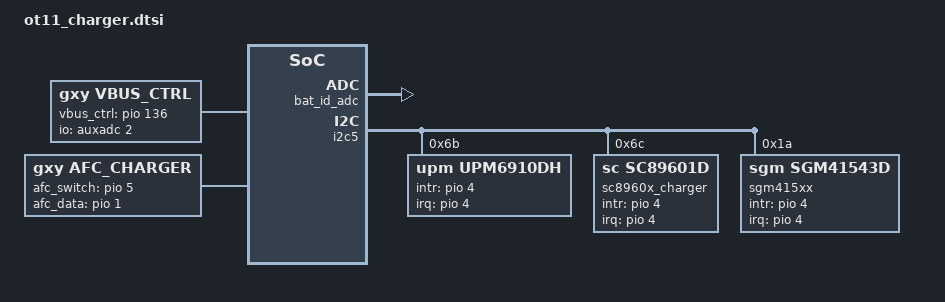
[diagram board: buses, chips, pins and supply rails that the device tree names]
#include <dt-bindings/iio/mt635x-auxadc.h>

/*Tab A9 code for SR-AX6739A-01-490 by qiaodan at 20230504 start*/
&odm {
    gxy_psy: gxy_psy {
        compatible = "gxy, gxy_psy";
        status = "okay";
    };
    /*Tab A9 code for SR-AX6739A-01-515 by lina at 20230505 start*/
    bat_id_adc: bat_id_adc {
        compatible = "gxy, bat_id_adc";
        io-channels = <&auxadc 4>;
        io-channel-names = "gxy-battid";
    };
    /*Tab A9 code for SR-AX6739A-01-515 by lina at 20230505 end*/
    /* Tab A9 code for SR-AX6739A-01-461 by qiaodan at 20230607 start */
    vbus_ctrl: vbus_ctrl {
        compatible = "gxy, vbus_ctrl";
        vbus_ctrl_gpio_num = <136>;
        vbus_ctrl_gpio = <&pio 136 0x0>;
        io-channels = <&auxadc 2>;
        io-channel-names = "gxy-usb-therm";
    };
    /* Tab A9 code for SR-AX6739A-01-461 by qiaodan at 20230607 end */
    /*Tab A9 code for SR-AX6739A-01-499 by wenyaqi at 20230515 start*/
    /* AFC  Fast charging */
    afc_charger: afc_charger {
        compatible = "gxy,afc_charger";
        gauge = <&mtk_gauge>;
        status = "okay";

        afc_switch_gpio_num = <5>;
        afc_switch_gpio = <&pio 5 0x0>;
        afc_data_gpio_num = <1>;
        afc_data_gpio = <&pio 1 0x0>;

        afc_start_battery_soc = <0>;
        afc_stop_battery_soc = <100>;
        afc_pre_input_current = <500000>;
        afc_charger_input_current = <1700000>;
        afc_charger_current = <2700000>;
        afc_min_charger_voltage = <4600000>;
        vbat_threshold = <4400>;
    };
    /*Tab A9 code for SR-AX6739A-01-499 by wenyaqi at 20230515 end*/

    /* Tab A9 code for SR-AX6739A-01-452 by gaozhengwei at 20230612 start */
    gxy_alarm: gxy_alarm {
        compatible = "gxy, gxy_alarm";
        status = "okay";
    };
    /* Tab A9 code for SR-AX6739A-01-452 by gaozhengwei at 20230612 end */
};
/*Tab A9 code for SR-AX6739A-01-490 by qiaodan at 20230504 end*/

/*Tab A9 code for SR-AX6739A-01-493 by lina at 20230518 start*/
&lk_charger {
    /* charging current */
    ac_charger_current = <2000000>;
    ac_charger_input_current = <1550000>;
};
/*Tab A9 code for SR-AX6739A-01-493 by lina at 20230518 end*/

&charger {
    /*Tab A9 code for AX6739A-12 by wenyaqi at 20230421 start*/
    /* for get pmic mt6366 vbus */
    io-channels = <&pmic_auxadc AUXADC_VCDT>;
    io-channel-names = "pmic_vbus";
    /*Tab A9 code for AX6739A-12 by wenyaqi at 20230421 end*/
    /*Tab A9 code for SR-AX6739A-01-494 by qiaodan at 20230502 start*/
    /* common */
    battery_cv = <4400000>;
    /*Tab A9 code for SR-AX6739A-01-514 by qiaodan at 20230601 start*/
    max_charger_voltage = <6400000>;
    max_fast_charger_voltage = <10400000>;
    /*Tab A9 code for SR-AX6739A-01-514 by qiaodan at 20230601 end*/
    min_charger_voltage = <4600000>;
    /*Tab A9 code for SR-AX6739A-01-504 by qiaodan at 20230506 start*/
    /* sw jeita */
    /* enable_vbat_mon = <1>; */
    enable_sw_jeita;
    jeita_temp_above_t4_cv = <4100000>;
    jeita_temp_t3_to_t4_cv = <4100000>;
    jeita_temp_t2_to_t3_cv = <4400000>;
    jeita_temp_t1_to_t2_cv = <4400000>;
    jeita_temp_t0_to_t1_cv = <4400000>;
    jeita_temp_below_t0_cv = <4400000>;
    /*jeita-current*/
    jeita_temp_above_t4_cur = <0>;
    jeita_temp_t3_to_t4_cur = <1750000>;
    jeita_temp_t2_to_t3_cur = <2700000>;
    jeita_temp_t1_to_t2_cur = <1500000>;
    jeita_temp_t0_to_t1_cur = <500000>;
    /*jeita-temp threadshold*/
    temp_t4_thres = <50>;
    temp_t4_thres_minus_x_degree = <48>;
    temp_t3_thres = <45>;
    temp_t3_thres_minus_x_degree = <43>;
    temp_t2_thres = <20>;
    temp_t2_thres_plus_x_degree = <22>;
    temp_t1_thres = <10>;
    temp_t1_thres_plus_x_degree = <12>;
    temp_t0_thres = <0>;
    temp_t0_thres_plus_x_degree = <2>;
    temp_neg_10_thres = <0>;
    /* battery temperature protection */
    enable_min_charge_temp;
    min_charge_temp = <0>;
    min_charge_temp_plus_x_degree = <6>;
    max_charge_temp = <50>;
    max_charge_temp_minus_x_degree = <47>;
    /*Tab A9 code for SR-AX6739A-01-504 by qiaodan at 20230506 end*/

    /*Tab A9 code for SR-AX6739A-01-503 by qiaodan at 20230510 start*/
    disable_aicl;
    /* charging current */
    usb_charger_current = <500000>;
    ac_charger_current = <2000000>;
    ac_charger_input_current = <1550000>;
    charging_host_charger_current = <1500000>;

    /* dynamic mivr */
    enable_dynamic_mivr;
    min_charger_voltage_1 = <4500000>;
    min_charger_voltage_2 = <4300000>;
    max_dmivr_charger_current = <1800000>;
    /*Tab A9 code for SR-AX6739A-01-503 by qiaodan at 20230510 end*/

    /* fast charging algo support indicator */
    enable_fast_charging_indicator;
    /*Tab A9 code for SR-AX6739A-01-494by qiaodan at 20230502 end*/

    /*Tab A9 code for SR-AX6739A-01-522 by gaozhengwei at 20230607 start*/
    /* Battery Life */
    gxy-batt-aging-enable;
    gxy,cv-ranges = <0 299 4400000
                    300 399 4380000
                    400 699 4360000
                    700 999 4340000
                    1000 9999 4290000>;
    /*Tab A9 code for SR-AX6739A-01-522 by gaozhengwei at 20230607 end*/
};

/*Tab A9 code for SR-AX6739A-01-503 by qiaodan at 20230510 start*/
&pdc {
    pd_vbus_upper_bound = <10000000>;
    pd_stop_battery_soc = <100>;
    /* single charger */
    sc_input_current = <1700000>;
    sc_charger_current = <2700000>;
    /* dual charger */
    vbat_threshold = <4400>;
};
/*Tab A9 code for SR-AX6739A-01-503 by qiaodan at 20230510 end*/

/*Tab A9 code for SR-AX6739A-01-494 by qiaodan at 20230502 start*/
&i2c5 {
    upm6910dh: upm6910dh@6B {
        compatible = "upm,upm6910dh";
        reg = <0x6B>;
        status = "okay";

        interrupt-parent = <&pio>;
        interrupts = <4 IRQ_TYPE_EDGE_FALLING>;
        charger_name = "primary_chg";
        upm,intr_gpio = <&pio 4 0x0>; /* GPIO */
        upm,intr_gpio_num = <4>;
    };

    /*Tab A9 code for SR-AX6739A-01-493 by wenyaqi at 20230502 start*/
     sc8960x_charger: sc8960x@6C {
        compatible = "sc,sc89601d";
        reg = <0x6C>;
        status = "okay";

        interrupt-parent = <&pio>;
        interrupts = <4 IRQ_TYPE_EDGE_FALLING>;
        sc8960x,charger_name = "primary_chg";
        sc8960x,intr_gpio = <&pio 4 0x0>;
        sc8960x,intr_gpio_num = <4>;

        sc8960x,pfm-dis = <0>; /*0: enable, 1: disable*/
        sc8960x,vsys-min = <5>; /*0: 2.6V, 1: 2.8V, 2: 3.0V,
                    3: 3.2V, 4: 3.4V, 5: 3.5V, 6:3.6V, 7: 3.7V*/
        sc8960x,vbat-low-otg = <0>; /*0: 2.8V, 1: 2.5V*/
        sc8960x,ipre-chg = <2>; /*60 + val * 60, unit:mA*/
        sc8960x,itermination = <2>; /*60 + val * 60, unit:mA*/
        /*Tab A9 code for AX6739A-2529 by wenyaqi at 20230727 start*/
        sc8960x,vbat-volt = <69>; /*3848 + val * 8, unit:mV*/
        /*Tab A9 code for AX6739A-2529 by wenyaqi at 20230727 end*/
        sc8960x,top-off-timer = <0>; /*0: dis, 1: 15min, 2: 20min 3: 45min*/
        sc8960x,vrechg-volt = <0>; /*0: 100mV, 1: 200mV*/
        sc8960x,en-termination = <1>; /*0: disable, 1: enable*/
        sc8960x,wdt-timer = <0>; /*0: disable, 1: 40s, 2: 80s, 3：160s*/
        sc8960x,en-chg-saft-timer = <1>; /*0: disable, 1: enable*/
        sc8960x,charge-timer = <1>; /*0: 5hrs, 1: 10hrs*/
        sc8960x,vac-ovp = <3>; /*0: 5.8V, 1: 6.4V, 2: 11V, 3: 14.2V*/
        sc8960x,iboost = <1>; /*0: 0.5A, 1: 1.2A*/
        sc8960x,vboost = <12>; /*3900 + val * 100, unit:mV*/
        sc8960x,vindpm-track = <0>; /*0: disable, 1:200mV, 2:250mV, 3:300mV*/
        sc8960x,vindpm-int-mask = <1>; /*0: not mask, 1: mask*/
        sc8960x,iindpm-int-mask = <1>; /*0: not mask, 1: mask*/
        sc8960x,vpre-to-cc = <0>; /*0: 3V, 1: 2.8V*/
        sc8960x,auto-dpdm-en = <0>; /*0: disale, 1: enable*/
        sc8960x,ntc-pin-dis = <1>; /*0: enable, 1: disable*/
    };
    /*Tab A9 code for SR-AX6739A-01-493 by wenyaqi at 20230502 end*/

    /* Tab A9 code for AX6739A-1334 by gaozhengwei at 20230620 start */
    sgm415xx: sgm415xx@1a {
        compatible = "sgm,sgm41543D";
        reg = <0x1A>;
        status = "okay";

        interrupt-parent = <&pio>;
        interrupts = <4 IRQ_TYPE_EDGE_FALLING>;
        charger_name = "primary_chg";
        sgm,intr_gpio = <&pio 4 0x0>; /* GPIO */
        sgm,intr_gpio_num = <4>;

        sgm41513,charge-detect-enable;
        sgm41513,usb-vlim = <4600>;
        sgm41513,usb-ilim = <500>;
        sgm41513,usb-vreg = <4400>;
        sgm41513,usb-ichg = <500>;

        sgm41513,precharge-current = <480>;
        sgm41513,termination-current = <180>;
        sgm41513,boost-voltage = <5000>;
        sgm41513,boost-current = <1200>;
        sgm41513,enable_term;
        sgm41513,stat-pin-ctrl = <3>;
        sgm41513,vac-ovp-threshold = <10500>;
    };
    /* Tab A9 code for AX6739A-1334 by gaozhengwei at 20230620 end */
};
/*Tab A9 code for SR-AX6739A-01-494 by qiaodan at 20230502 end*/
